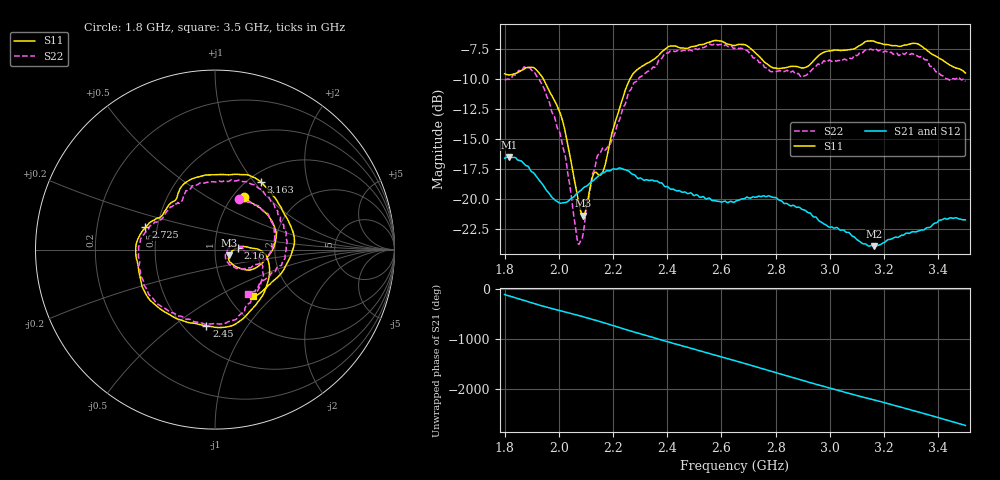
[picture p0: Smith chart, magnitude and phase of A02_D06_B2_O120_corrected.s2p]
! Created with skrf 1.9.0 (http://scikit-rf.org).
# Hz S RI R 50.0
!freq ReS11 ImS11 ReS21 ImS21 ReS12 ImS12 ReS22 ImS22
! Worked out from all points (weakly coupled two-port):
!   1601 points, 1.8 GHz to 3.5 GHz, reference 50 ohm
!   highest |S21| = -16.50 dB at 1.816 GHz (marker M1); lowest = -23.9 dB at 3.163 GHz (marker M2)
!   lowest |S11| = -21.4 dB at 2.09 GHz (marker M3), VSWR 1.19, Z = 58.4 - j3.84 ohm
!   |S11| at or under -10 dB: 1.943 GHz to 2.262 GHz (318.6 MHz wide, 15.2 % of centre)
!   |S22| runs from -23.8 to -7.0 dB; largest |S21 - S12| = 0.0025
!   S11 on the Smith chart (normalised r, x): 1.8 GHz: 1.13, +0.74; 2.16 GHz: 1.29, +0.03; 2.45 GHz: 0.64, -0.66; 2.725 GHz: 0.43, +0.13; 3.163 GHz: 1.14, +1.09; 3.5 GHz: 1.29, -0.76
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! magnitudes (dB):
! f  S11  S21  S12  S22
! 1.8 GHz  -9.5  -16.6  -16.6  -10.0
! 1.816 GHz  -9.6  -16.5  -16.5  -10.0
! 1.889 GHz  -9.0  -17.4  -17.4  -9.1
! 1.942 GHz  -10.0  -18.9  -18.8  -10.6
! 2.013 GHz  -13.4  -20.3  -20.3  -15.4
! 2.067 GHz  -19.5  -19.5  -19.5  -23.2
! 2.084 GHz  -21.2  -19.2  -19.2  -23.3
! 2.09 GHz  -21.4  -19.1  -19.1  -22.9
! 2.128 GHz  -17.9  -18.4  -18.4  -17.7
! 2.16 GHz  -17.8  -17.8  -17.8  -15.8
! 2.196 GHz  -14.5  -17.5  -17.5  -15.0
! 2.26 GHz  -10.1  -17.7  -17.7  -11.0
! 2.367 GHz  -8.0  -18.6  -18.5  -8.5
! 2.45 GHz  -7.4  -19.4  -19.4  -7.6
! 2.65 GHz  -7.2  -20.2  -20.2  -7.4
! 2.725 GHz  -7.8  -19.9  -19.8  -8.3
! 2.799 GHz  -9.1  -19.9  -19.9  -9.4
! 2.934 GHz  -8.6  -21.3  -21.3  -9.2
! 3.163 GHz  -6.8  -23.9  -23.9  -7.5
! 3.217 GHz  -7.1  -23.4  -23.3  -7.8
! 3.324 GHz  -7.0  -22.7  -22.7  -8.1
! 3.5 GHz  -9.5  -21.7  -21.7  -10.2
